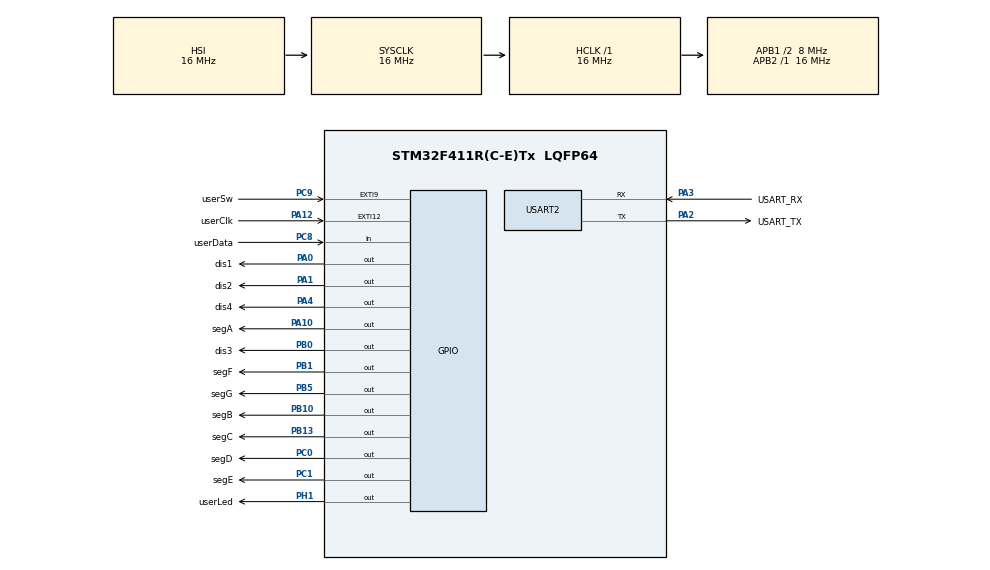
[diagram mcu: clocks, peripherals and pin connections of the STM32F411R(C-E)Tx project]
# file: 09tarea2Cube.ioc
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Mcu.Family=STM32F4
Mcu.Name=STM32F411R(C-E)Tx
Mcu.Package=LQFP64
NVIC.EXTI15_10_IRQn=true\:0\:0\:false\:false\:true\:true\:true\:true
NVIC.EXTI9_5_IRQn=true\:0\:0\:false\:false\:true\:true\:true\:true
NVIC.PriorityGroup=NVIC_PRIORITYGROUP_0
NVIC.TIM2_IRQn=true\:0\:0\:false\:false\:true\:true\:true\:true
NVIC.TIM3_IRQn=true\:0\:0\:false\:false\:true\:true\:true\:true
PA0-WKUP.GPIO_Label=dis1
PA0-WKUP.Signal=GPIO_Output
PA1.GPIO_Label=dis2
PA1.Signal=GPIO_Output
PA10.GPIO_Label=segA
PA10.Signal=GPIO_Output
PA12.GPIO_Label=userClk
PA12.Signal=GPXTI12
PA13.GPIO_Label=TMS
PA13.Mode=Serial_Wire
PA13.Signal=SYS_JTMS-SWDIO
PA14.GPIO_Label=TCK
PA14.Mode=Serial_Wire
PA14.Signal=SYS_JTCK-SWCLK
PA2.GPIO_Label=USART_TX
PA2.Mode=Asynchronous
PA2.Signal=USART2_TX
PA3.GPIO_Label=USART_RX
PA3.Mode=Asynchronous
PA3.Signal=USART2_RX
PA4.GPIO_Label=dis4
PA4.Signal=GPIO_Output
PB0.GPIO_Label=dis3
PB0.Signal=GPIO_Output
PB1.GPIO_Label=segF
PB1.Signal=GPIO_Output
PB10.GPIO_Label=segB
PB10.Signal=GPIO_Output
PB13.GPIO_Label=segC
PB13.Signal=GPIO_Output
PB3.GPIO_Label=SWO
PB3.Signal=SYS_JTDO-SWO
PB5.GPIO_Label=segG
PB5.Signal=GPIO_Output
PC0.GPIO_Label=segD
PC0.Signal=GPIO_Output
PC1.GPIO_Label=segE
PC1.Signal=GPIO_Output
PC8.GPIO_Label=userData
PC8.Signal=GPIO_Input
PC9.GPIO_Label=userSw
PC9.Signal=GPXTI9
PH1\ -\ OSC_OUT.GPIO_Label=userLed
PH1\ -\ OSC_OUT.PinState=GPIO_PIN_SET
PH1\ -\ OSC_OUT.Signal=GPIO_Output
ProjectManager.HeapSize=0x200
ProjectManager.StackSize=0x400
ProjectManager.TargetToolchain=STM32CubeIDE
RCC.48MHZClocksFreq_Value=84000000
RCC.AHBFreq_Value=16000000
RCC.APB1CLKDivider=RCC_HCLK_DIV2
RCC.APB1Freq_Value=8000000
RCC.APB1TimFreq_Value=16000000
RCC.APB2Freq_Value=16000000
RCC.APB2TimFreq_Value=16000000
RCC.CortexFreq_Value=16000000
RCC.FLatency-AdvancedSettings=FLASH_LATENCY_0
RCC.HCLKFreq_Value=16000000
RCC.HSE_VALUE=8000000
RCC.HSI_VALUE=16000000
RCC.LSE_VALUE=32768
RCC.PLLN=336
RCC.PLLP=RCC_PLLP_DIV4
RCC.SYSCLKFreq_VALUE=16000000
RCC.VCOOutputFreq_Value=336000000
TIM2.AutoReloadPreload=TIM_AUTORELOAD_PRELOAD_ENABLE
TIM2.Period=250-1
TIM2.Prescaler=16000-1
TIM3.AutoReloadPreload=TIM_AUTORELOAD_PRELOAD_ENABLE
TIM3.Period=500-1
TIM3.Prescaler=16000-1
USART2.VirtualMode=VM_ASYNC
VP_TIM2_VS_ClockSourceINT.Mode=Internal
VP_TIM3_VS_ClockSourceINT.Mode=Internal
board=NUCLEO-F411RE

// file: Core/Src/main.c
/* USER CODE BEGIN Header */
/**
  ******************************************************************************
  * @file           : main.c
  * @brief          : Main program body
  ******************************************************************************
  * @attention
  *
  * Copyright (c) 2025 STMicroelectronics.
  * All rights reserved.
  *
  * This software is licensed under terms that can be found in the LICENSE file
  * in the root directory of this software component.
  * If no LICENSE file comes with this software, it is provided AS-IS.
  *
  ******************************************************************************
  */
/* USER CODE END Header */
#include "main.h"

/* USER CODE BEGIN Includes */
#include "fsm.h"
/* USER CODE END Includes */

TIM_HandleTypeDef htim2;
TIM_HandleTypeDef htim3;

UART_HandleTypeDef huart2;

/* USER CODE BEGIN PV */
volatile e_PosiblesEvents pending_event = IDLE;
volatile uint8_t data_snapshot = 0;
static uint16_t display_value = 0;
static uint8_t nextDigit_FSM = 1;
/* USER CODE END PV */

void SystemClock_Config(void);
static void MX_GPIO_Init(void);
static void MX_USART2_UART_Init(void);
static void MX_TIM2_Init(void);
static void MX_TIM3_Init(void);
/* USER CODE BEGIN PFP */
void displayNumber(uint8_t digitValue);
/* USER CODE END PFP */

/* USER CODE BEGIN 0 */
e_PosiblesStates state_machine_action(e_PosiblesEvents event) {
    switch (event) {
    	case IDLE:
    		break;
        case EVENT_ENCODER:
            if (HAL_GPIO_ReadPin(GPIOC, GPIO_PIN_8))  // DATA snapshot
                display_value = (display_value == 0) ? 4095 : display_value - 1;
            else
                display_value = (display_value == 4095) ? 0 : display_value + 1;
            break;

        case EVENT_SW:
            display_value = 0;
            nextDigit_FSM = 1;
            break;

        case EVENT_TIMER_TICK:
            // Apagar todos los dígitos
            HAL_GPIO_WritePin(GPIOA, GPIO_PIN_0, GPIO_PIN_RESET);  // userDis1
            HAL_GPIO_WritePin(GPIOA, GPIO_PIN_1, GPIO_PIN_RESET);  // userDis2
            HAL_GPIO_WritePin(GPIOB, GPIO_PIN_0, GPIO_PIN_RESET);  // userDis3
            HAL_GPIO_WritePin(GPIOA, GPIO_PIN_4, GPIO_PIN_RESET);  // userDis4

            switch (nextDigit_FSM) {
                case 1:
                    HAL_GPIO_WritePin(GPIOA, GPIO_PIN_0, GPIO_PIN_SET);
                    displayNumber(display_value % 10);
                    break;
                case 2:
                    HAL_GPIO_WritePin(GPIOA, GPIO_PIN_1, GPIO_PIN_SET);
                    displayNumber((display_value / 10) % 10);
                    break;
                case 3:
                    HAL_GPIO_WritePin(GPIOB, GPIO_PIN_0, GPIO_PIN_SET);
                    displayNumber((display_value / 100) % 10);
                    break;
                case 4:
                    HAL_GPIO_WritePin(GPIOA, GPIO_PIN_4, GPIO_PIN_SET);
                    displayNumber((display_value / 1000) % 10);
                    break;
            }
            nextDigit_FSM = (nextDigit_FSM < 4) ? nextDigit_FSM + 1 : 1;
            break;
    }return event;
}

void displayNumber(uint8_t digitValue) {
    // Apagar todos los segmentos
    HAL_GPIO_WritePin(GPIOA, GPIO_PIN_10, GPIO_PIN_RESET);  // A
    HAL_GPIO_WritePin(GPIOB, GPIO_PIN_10, GPIO_PIN_RESET);  // B
    HAL_GPIO_WritePin(GPIOB, GPIO_PIN_13, GPIO_PIN_RESET);  // C
    HAL_GPIO_WritePin(GPIOC, GPIO_PIN_0, GPIO_PIN_RESET);   // D
    HAL_GPIO_WritePin(GPIOC, GPIO_PIN_1, GPIO_PIN_RESET);   // E
    HAL_GPIO_WritePin(GPIOB, GPIO_PIN_1, GPIO_PIN_RESET);   // F
    HAL_GPIO_WritePin(GPIOB, GPIO_PIN_5, GPIO_PIN_RESET);   // G

    switch (digitValue) {
        case 0:
            HAL_GPIO_WritePin(GPIOA, GPIO_PIN_10, GPIO_PIN_SET);
            HAL_GPIO_WritePin(GPIOB, GPIO_PIN_10, GPIO_PIN_SET);
            HAL_GPIO_WritePin(GPIOB, GPIO_PIN_13, GPIO_PIN_SET);
            HAL_GPIO_WritePin(GPIOC, GPIO_PIN_0, GPIO_PIN_SET);
            HAL_GPIO_WritePin(GPIOC, GPIO_PIN_1, GPIO_PIN_SET);
            HAL_GPIO_WritePin(GPIOB, GPIO_PIN_1, GPIO_PIN_SET);
            break;
        case 1:
            HAL_GPIO_WritePin(GPIOB, GPIO_PIN_10, GPIO_PIN_SET);
            HAL_GPIO_WritePin(GPIOB, GPIO_PIN_13, GPIO_PIN_SET);
            break;
        case 2:
            HAL_GPIO_WritePin(GPIOA, GPIO_PIN_10, GPIO_PIN_SET);
            HAL_GPIO_WritePin(GPIOB, GPIO_PIN_10, GPIO_PIN_SET);
            HAL_GPIO_WritePin(GPIOC, GPIO_PIN_0, GPIO_PIN_SET);
            HAL_GPIO_WritePin(GPIOC, GPIO_PIN_1, GPIO_PIN_SET);
            HAL_GPIO_WritePin(GPIOB, GPIO_PIN_5, GPIO_PIN_SET);
            break;
        case 3:
            HAL_GPIO_WritePin(GPIOA, GPIO_PIN_10, GPIO_PIN_SET);
            HAL_GPIO_WritePin(GPIOB, GPIO_PIN_10, GPIO_PIN_SET);
            HAL_GPIO_WritePin(GPIOB, GPIO_PIN_13, GPIO_PIN_SET);
            HAL_GPIO_WritePin(GPIOC, GPIO_PIN_0, GPIO_PIN_SET);
            HAL_GPIO_WritePin(GPIOB, GPIO_PIN_5, GPIO_PIN_SET);
            break;
        case 4:
            HAL_GPIO_WritePin(GPIOB, GPIO_PIN_10, GPIO_PIN_SET);
            HAL_GPIO_WritePin(GPIOB, GPIO_PIN_13, GPIO_PIN_SET);
            HAL_GPIO_WritePin(GPIOB, GPIO_PIN_1, GPIO_PIN_SET);
            HAL_GPIO_WritePin(GPIOB, GPIO_PIN_5, GPIO_PIN_SET);
            break;
        case 5:
            HAL_GPIO_WritePin(GPIOA, GPIO_PIN_10, GPIO_PIN_SET);
            HAL_GPIO_WritePin(GPIOB, GPIO_PIN_13, GPIO_PIN_SET);
            HAL_GPIO_WritePin(GPIOC, GPIO_PIN_0, GPIO_PIN_SET);
            HAL_GPIO_WritePin(GPIOB, GPIO_PIN_1, GPIO_PIN_SET);
            HAL_GPIO_WritePin(GPIOB, GPIO_PIN_5, GPIO_PIN_SET);
            break;
        case 6:
            HAL_GPIO_WritePin(GPIOA, GPIO_PIN_10, GPIO_PIN_SET);
            HAL_GPIO_WritePin(GPIOB, GPIO_PIN_13, GPIO_PIN_SET);
            HAL_GPIO_WritePin(GPIOC, GPIO_PIN_0, GPIO_PIN_SET);
            HAL_GPIO_WritePin(GPIOC, GPIO_PIN_1, GPIO_PIN_SET);
            HAL_GPIO_WritePin(GPIOB, GPIO_PIN_1, GPIO_PIN_SET);
            HAL_GPIO_WritePin(GPIOB, GPIO_PIN_5, GPIO_PIN_SET);
            break;
        case 7:
            HAL_GPIO_WritePin(GPIOA, GPIO_PIN_10, GPIO_PIN_SET);
            HAL_GPIO_WritePin(GPIOB, GPIO_PIN_10, GPIO_PIN_SET);
            HAL_GPIO_WritePin(GPIOB, GPIO_PIN_13, GPIO_PIN_SET);
            break;
        case 8:
            HAL_GPIO_WritePin(GPIOA, GPIO_PIN_10, GPIO_PIN_SET);
            HAL_GPIO_WritePin(GPIOB, GPIO_PIN_10, GPIO_PIN_SET);
            HAL_GPIO_WritePin(GPIOB, GPIO_PIN_13, GPIO_PIN_SET);
            HAL_GPIO_WritePin(GPIOC, GPIO_PIN_0, GPIO_PIN_SET);
            HAL_GPIO_WritePin(GPIOC, GPIO_PIN_1, GPIO_PIN_SET);
            HAL_GPIO_WritePin(GPIOB, GPIO_PIN_1, GPIO_PIN_SET);
            HAL_GPIO_WritePin(GPIOB, GPIO_PIN_5, GPIO_PIN_SET);
            break;
        case 9:
            HAL_GPIO_WritePin(GPIOA, GPIO_PIN_10, GPIO_PIN_SET);
            HAL_GPIO_WritePin(GPIOB, GPIO_PIN_10, GPIO_PIN_SET);
            HAL_GPIO_WritePin(GPIOB, GPIO_PIN_13, GPIO_PIN_SET);
            HAL_GPIO_WritePin(GPIOB, GPIO_PIN_1, GPIO_PIN_SET);
            HAL_GPIO_WritePin(GPIOB, GPIO_PIN_5, GPIO_PIN_SET);
            break;
    }
}

/* USER CODE END 0 */

int main(void)
{

  /* MCU Configuration--------------------------------------------------------*/

  /* Reset of all peripherals, Initializes the Flash interface and the Systick. */
  HAL_Init();

  /* Configure the system clock */
  SystemClock_Config();

  /* Initialize all configured peripherals */
  MX_GPIO_Init();
  MX_USART2_UART_Init();
  MX_TIM2_Init();
  MX_TIM3_Init();
  /* USER CODE BEGIN 2 */
  HAL_TIM_Base_Start_IT(&htim2);
  HAL_TIM_Base_Start_IT(&htim3);
  /* USER CODE END 2 */

  /* Infinite loop */
  while (1)
  {

    /* USER CODE BEGIN 3 */
  	if (pending_event != IDLE){
  		state_machine_action(pending_event);
  		pending_event = IDLE;
  	}
  }
  /* USER CODE END 3 */
}

void SystemClock_Config(void)
{
  RCC_OscInitTypeDef RCC_OscInitStruct = {0};
  RCC_ClkInitTypeDef RCC_ClkInitStruct = {0};

  /** Configure the main internal regulator output voltage
  */
  __HAL_RCC_PWR_CLK_ENABLE();
  __HAL_PWR_VOLTAGESCALING_CONFIG(PWR_REGULATOR_VOLTAGE_SCALE1);

  /** Initializes the RCC Oscillators according to the specified parameters
  * in the RCC_OscInitTypeDef structure.
  */
  RCC_OscInitStruct.OscillatorType = RCC_OSCILLATORTYPE_HSI;
  RCC_OscInitStruct.HSIState = RCC_HSI_ON;
  RCC_OscInitStruct.HSICalibrationValue = RCC_HSICALIBRATION_DEFAULT;
  RCC_OscInitStruct.PLL.PLLState = RCC_PLL_NONE;
  if (HAL_RCC_OscConfig(&RCC_OscInitStruct) != HAL_OK)
  {
    Error_Handler();
  }

  /** Initializes the CPU, AHB and APB buses clocks
  */
  RCC_ClkInitStruct.ClockType = RCC_CLOCKTYPE_HCLK|RCC_CLOCKTYPE_SYSCLK
                              |RCC_CLOCKTYPE_PCLK1|RCC_CLOCKTYPE_PCLK2;
  RCC_ClkInitStruct.SYSCLKSource = RCC_SYSCLKSOURCE_HSI;
  RCC_ClkInitStruct.AHBCLKDivider = RCC_SYSCLK_DIV1;
  RCC_ClkInitStruct.APB1CLKDivider = RCC_HCLK_DIV2;
  RCC_ClkInitStruct.APB2CLKDivider = RCC_HCLK_DIV1;

  if (HAL_RCC_ClockConfig(&RCC_ClkInitStruct, FLASH_LATENCY_0) != HAL_OK)
  {
    Error_Handler();
  }
}

static void MX_TIM2_Init(void)
{

  TIM_ClockConfigTypeDef sClockSourceConfig = {0};
  TIM_MasterConfigTypeDef sMasterConfig = {0};

  htim2.Instance = TIM2;
  htim2.Init.Prescaler = 16000-1;
  htim2.Init.CounterMode = TIM_COUNTERMODE_UP;
  htim2.Init.Period = 250-1;
  htim2.Init.ClockDivision = TIM_CLOCKDIVISION_DIV1;
  htim2.Init.AutoReloadPreload = TIM_AUTORELOAD_PRELOAD_ENABLE;
  if (HAL_TIM_Base_Init(&htim2) != HAL_OK)
  {
    Error_Handler();
  }
  sClockSourceConfig.ClockSource = TIM_CLOCKSOURCE_INTERNAL;
  if (HAL_TIM_ConfigClockSource(&htim2, &sClockSourceConfig) != HAL_OK)
  {
    Error_Handler();
  }
  sMasterConfig.MasterOutputTrigger = TIM_TRGO_RESET;
  sMasterConfig.MasterSlaveMode = TIM_MASTERSLAVEMODE_DISABLE;
  if (HAL_TIMEx_MasterConfigSynchronization(&htim2, &sMasterConfig) != HAL_OK)
  {
    Error_Handler();
  }

}

static void MX_TIM3_Init(void)
{

  TIM_ClockConfigTypeDef sClockSourceConfig = {0};
  TIM_MasterConfigTypeDef sMasterConfig = {0};

  htim3.Instance = TIM3;
  htim3.Init.Prescaler = 16000-1;
  htim3.Init.CounterMode = TIM_COUNTERMODE_UP;
  htim3.Init.Period = 6-1;
  htim3.Init.ClockDivision = TIM_CLOCKDIVISION_DIV1;
  htim3.Init.AutoReloadPreload = TIM_AUTORELOAD_PRELOAD_ENABLE;
  if (HAL_TIM_Base_Init(&htim3) != HAL_OK)
  {
    Error_Handler();
  }
  sClockSourceConfig.ClockSource = TIM_CLOCKSOURCE_INTERNAL;
  if (HAL_TIM_ConfigClockSource(&htim3, &sClockSourceConfig) != HAL_OK)
  {
    Error_Handler();
  }
  sMasterConfig.MasterOutputTrigger = TIM_TRGO_RESET;
  sMasterConfig.MasterSlaveMode = TIM_MASTERSLAVEMODE_DISABLE;
  if (HAL_TIMEx_MasterConfigSynchronization(&htim3, &sMasterConfig) != HAL_OK)
  {
    Error_Handler();
  }

}

static void MX_USART2_UART_Init(void)
{

  huart2.Instance = USART2;
  huart2.Init.BaudRate = 115200;
  huart2.Init.WordLength = UART_WORDLENGTH_8B;
  huart2.Init.StopBits = UART_STOPBITS_1;
  huart2.Init.Parity = UART_PARITY_NONE;
  huart2.Init.Mode = UART_MODE_TX_RX;
  huart2.Init.HwFlowCtl = UART_HWCONTROL_NONE;
  huart2.Init.OverSampling = UART_OVERSAMPLING_16;
  if (HAL_UART_Init(&huart2) != HAL_OK)
  {
    Error_Handler();
  }

}

static void MX_GPIO_Init(void)
{
  GPIO_InitTypeDef GPIO_InitStruct = {0};

  /* GPIO Ports Clock Enable */
  __HAL_RCC_GPIOH_CLK_ENABLE();
  __HAL_RCC_GPIOC_CLK_ENABLE();
  __HAL_RCC_GPIOA_CLK_ENABLE();
  __HAL_RCC_GPIOB_CLK_ENABLE();

  /*Configure GPIO pin Output Level */
  HAL_GPIO_WritePin(userLed_GPIO_Port, userLed_Pin, GPIO_PIN_SET);

  /*Configure GPIO pin Output Level */
  HAL_GPIO_WritePin(GPIOC, segD_Pin|segE_Pin, GPIO_PIN_RESET);

  /*Configure GPIO pin Output Level */
  HAL_GPIO_WritePin(GPIOA, dis1_Pin|dis2_Pin|dis4_Pin|segA_Pin, GPIO_PIN_RESET);

  /*Configure GPIO pin Output Level */
  HAL_GPIO_WritePin(GPIOB, dis3_Pin|segF_Pin|segB_Pin|segC_Pin
                          |segG_Pin, GPIO_PIN_RESET);

  /*Configure GPIO pin : userLed_Pin */
  GPIO_InitStruct.Pin = userLed_Pin;
  GPIO_InitStruct.Mode = GPIO_MODE_OUTPUT_PP;
  GPIO_InitStruct.Pull = GPIO_NOPULL;
  GPIO_InitStruct.Speed = GPIO_SPEED_FREQ_LOW;
  HAL_GPIO_Init(userLed_GPIO_Port, &GPIO_InitStruct);

  /*Configure GPIO pins : segD_Pin segE_Pin */
  GPIO_InitStruct.Pin = segD_Pin|segE_Pin;
  GPIO_InitStruct.Mode = GPIO_MODE_OUTPUT_PP;
  GPIO_InitStruct.Pull = GPIO_NOPULL;
  GPIO_InitStruct.Speed = GPIO_SPEED_FREQ_LOW;
  HAL_GPIO_Init(GPIOC, &GPIO_InitStruct);

  /*Configure GPIO pins : dis1_Pin dis2_Pin dis4_Pin segA_Pin */
  GPIO_InitStruct.Pin = dis1_Pin|dis2_Pin|dis4_Pin|segA_Pin;
  GPIO_InitStruct.Mode = GPIO_MODE_OUTPUT_PP;
  GPIO_InitStruct.Pull = GPIO_NOPULL;
  GPIO_InitStruct.Speed = GPIO_SPEED_FREQ_LOW;
  HAL_GPIO_Init(GPIOA, &GPIO_InitStruct);

  /*Configure GPIO pins : dis3_Pin segF_Pin segB_Pin segC_Pin
                           segG_Pin */
  GPIO_InitStruct.Pin = dis3_Pin|segF_Pin|segB_Pin|segC_Pin
                          |segG_Pin;
  GPIO_InitStruct.Mode = GPIO_MODE_OUTPUT_PP;
  GPIO_InitStruct.Pull = GPIO_NOPULL;
  GPIO_InitStruct.Speed = GPIO_SPEED_FREQ_LOW;
  HAL_GPIO_Init(GPIOB, &GPIO_InitStruct);

  /*Configure GPIO pin : userData_Pin */
  GPIO_InitStruct.Pin = userData_Pin;
  GPIO_InitStruct.Mode = GPIO_MODE_INPUT;
  GPIO_InitStruct.Pull = GPIO_NOPULL;
  HAL_GPIO_Init(userData_GPIO_Port, &GPIO_InitStruct);

  /*Configure GPIO pin : userSw_Pin */
  GPIO_InitStruct.Pin = userSw_Pin;
  GPIO_InitStruct.Mode = GPIO_MODE_IT_RISING;
  GPIO_InitStruct.Pull = GPIO_NOPULL;
  HAL_GPIO_Init(userSw_GPIO_Port, &GPIO_InitStruct);

  /*Configure GPIO pin : userClk_Pin */
  GPIO_InitStruct.Pin = userClk_Pin;
  GPIO_InitStruct.Mode = GPIO_MODE_IT_RISING;
  GPIO_InitStruct.Pull = GPIO_NOPULL;
  HAL_GPIO_Init(userClk_GPIO_Port, &GPIO_InitStruct);

  /* EXTI interrupt init*/
  HAL_NVIC_SetPriority(EXTI9_5_IRQn, 0, 0);
  HAL_NVIC_EnableIRQ(EXTI9_5_IRQn);

  HAL_NVIC_SetPriority(EXTI15_10_IRQn, 0, 0);
  HAL_NVIC_EnableIRQ(EXTI15_10_IRQn);

}

/* USER CODE BEGIN 4 */
void HAL_TIM_PeriodElapsedCallback(TIM_HandleTypeDef *htim){
	if(htim->Instance==TIM2){
		HAL_GPIO_TogglePin(userLed_GPIO_Port,userLed_Pin);
	}else
		if(htim->Instance==TIM3){
			if (pending_event == IDLE)
			pending_event = EVENT_TIMER_TICK;
	}
}
void HAL_GPIO_EXTI_Callback(uint16_t GPIO_Pin)
{
    if (GPIO_Pin == userClk_Pin) {
        data_snapshot = HAL_GPIO_ReadPin(userData_GPIO_Port, userData_Pin);
        if (pending_event == IDLE)
            pending_event = EVENT_ENCODER;
    } else if (GPIO_Pin == userSw_Pin) {
        if (pending_event == IDLE)
            pending_event = EVENT_SW;
    }
}
/* USER CODE END 4 */

void Error_Handler(void)
{
  __disable_irq();
  while (1)
  {
  }
}
